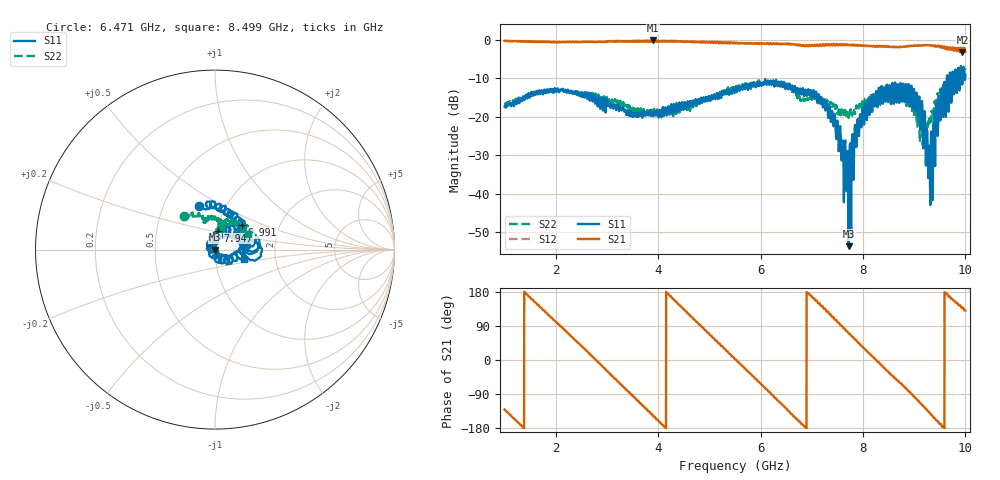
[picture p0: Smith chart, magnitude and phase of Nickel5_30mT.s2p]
#  HZ  S  RI  R  50.0
! Rohde & Schwarz ZVL13 2Ports - Version 3.31 - 1303.6509k13 SN: 101088
! Date: 2023-03-09 14:09:54
! Data & Calibration Information:
! Trc4:S11(TOSM) Trc2:S21(TOSM) Trc3:S12(TOSM) Trc5:S22(TOSM)
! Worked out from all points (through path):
!   4000 points, 1 GHz to 10 GHz, reference 50 ohm
!   highest |S21| = -0.15 dB at 3.89 GHz (marker M1); lowest = -3.2 dB at 9.941 GHz (marker M2)
!   group delay of S21, straight-line fit = 365 ps
!   lowest |S11| = -53.7 dB at 7.718 GHz (marker M3), VSWR 1.00, Z = 50.2 - j0.00897 ohm
!   |S11| at or under -10 dB: start of sweep to 9.637 GHz; 9.652584 GHz to 9.687949 GHz (35.36 MHz wide, 0.366 % of centre); 9.709546 GHz to 9.740972 GHz (31.43 MHz wide, 0.323 % of centre)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
!   |S22| runs from -27.4 to -7.4 dB; largest |S21 - S12| = 0.071
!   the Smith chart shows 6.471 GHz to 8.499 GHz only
!   S11 on the Smith chart (normalised r, x): 6.471 GHz: 0.75, +0.39; 6.991 GHz: 1.30, +0.37; 7.947 GHz: 1.01, +0.22; 8.499 GHz: 1.38, -0.16
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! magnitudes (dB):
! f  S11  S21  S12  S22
! 1 GHz  -17.3  -0.3  -0.2  -16.8
! 1.695 GHz  -14.1  -0.6  -0.4  -13.7
! 2.501 GHz  -14.5  -0.5  -0.6  -13.7
! 3.89 GHz  -19.1  -0.1  -0.3  -19.2
! 4 GHz  -19.4  -0.2  -0.2  -19.2
! 5.501 GHz  -13.2  -0.8  -0.9  -12.6
! 6.471 GHz  -11.7  -1.0  -1.2  -11.9
! 6.991 GHz  -13.8  -1.4  -1.6  -15.4
! 7 GHz  -14.7  -1.3  -1.4  -15.5
! 7.423 GHz  -22.5  -1.2  -1.1  -16.6
! 7.718 GHz  -53.7  -1.3  -1.3  -19.7
! 7.947 GHz  -19.4  -1.4  -1.3  -17.3
! 8.499 GHz  -15.3  -1.8  -1.8  -13.8
! 8.501 GHz  -15.0  -1.8  -1.8  -13.9
! 8.845 GHz  -12.5  -1.7  -1.6  -17.2
! 9.021 GHz  -18.4  -1.5  -1.4  -19.3
! 9.199 GHz  -18.9  -1.4  -1.4  -22.1
! 9.316 GHz  -39.7  -1.4  -1.5  -21.5
! 9.41 GHz  -29.7  -1.5  -1.6  -16.2
! 9.561 GHz  -19.9  -2.1  -2.0  -12.4
! 9.941 GHz  -11.0  -3.2  -2.6  -8.0
! 10 GHz  -9.1  -3.1  -2.6  -7.4
